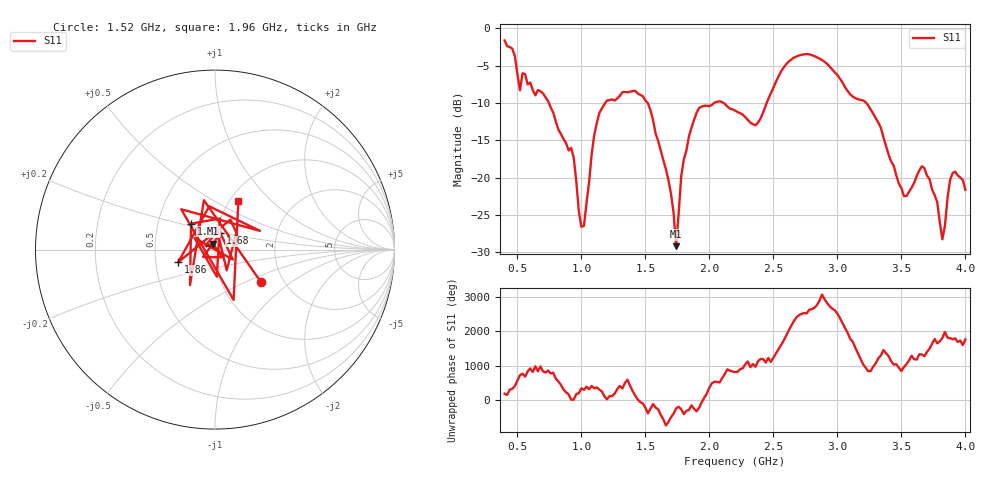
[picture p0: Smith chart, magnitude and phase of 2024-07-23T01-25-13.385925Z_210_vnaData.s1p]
!Created with skrf (http://scikit-rf.org).
# Hz S RI R 50.0
!freq ReS11 ImS11
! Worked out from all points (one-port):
!   181 points, 400 MHz to 4 GHz, reference 50 ohm
!   lowest |S11| = -29.2 dB at 1.74 GHz (marker M1), VSWR 1.07, Z = 48.8 + j3.2 ohm
!   |S11| at or under -10 dB: 745.9 MHz to 1.187 GHz (440.9 MHz wide, 45.6 % of centre); 1.518 GHz to 2.037 GHz (519.5 MHz wide, 29.2 % of centre); 3.225 GHz to end of sweep (the widest 3 of 4)
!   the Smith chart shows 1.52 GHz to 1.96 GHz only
!   S11 on the Smith chart (normalised r, x): 1.52 GHz: 1.54, -0.62; 1.58 GHz: 0.74, +0.22; 1.68 GHz: 1.04, +0.19; 1.86 GHz: 0.65, -0.10; 1.96 GHz: 1.09, +0.66
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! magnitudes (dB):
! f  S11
! 400 MHz  -1.6
! 480 MHz  -3.7
! 520 MHz  -8.3
! 700 MHz  -8.7
! 860 MHz  -14.8
! 940 MHz  -17.4
! 980 MHz  -24.5
! 1.02 GHz  -26.5
! 1.14 GHz  -11.4
! 1.3 GHz  -9.1
! 1.52 GHz  -10.0
! 1.58 GHz  -14.1
! 1.68 GHz  -20.3
! 1.74 GHz  -29.2
! 1.76 GHz  -24.8
! 1.78 GHz  -19.8
! 1.86 GHz  -13.3
! 1.96 GHz  -10.4
! 2.2 GHz  -11.0
! 2.36 GHz  -13.0
! 2.66 GHz  -3.9
! 3.1 GHz  -8.8
! 3.26 GHz  -10.9
! 3.56 GHz  -21.9
! 3.68 GHz  -18.7
! 3.82 GHz  -28.3
! 3.9 GHz  -19.4
! 4 GHz  -21.6
